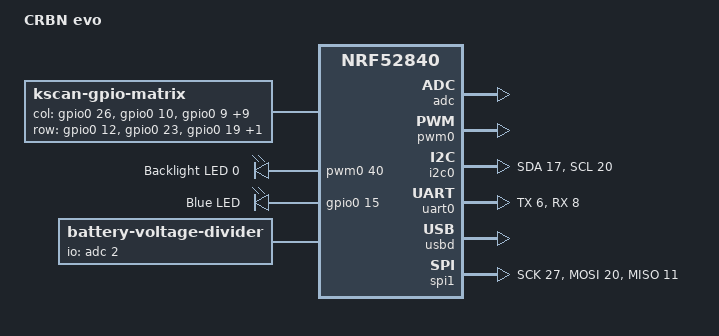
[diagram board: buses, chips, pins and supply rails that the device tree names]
/*
* Copyright (c) 2021 Polarity Works
*
* SPDX-License-Identifier: MIT
*/

/dts-v1/;
#include <nordic/nrf52840_qiaa.dtsi>
#include <dt-bindings/zmk/matrix_transform.h>

/ {
	model = "CRBN evo";
	compatible = "polarityworks,crbnevo";

	chosen {
		zephyr,code-partition = &code_partition;
		zephyr,sram = &sram0;
		zephyr,flash = &flash0;
		zmk,kscan = &kscan0;
		zmk,backlight = &backlight;
		zephyr,console = &cdc_acm_uart;
	};

	kscan0: kscan_0 {
		compatible = "zmk,kscan-gpio-matrix";
		label = "KSCAN";
		diode-direction = "col2row";

		col-gpios
			= <&gpio0 26 GPIO_ACTIVE_HIGH>
			, <&gpio0 10 GPIO_ACTIVE_HIGH>
			, <&gpio0 9 GPIO_ACTIVE_HIGH>
			, <&gpio0 28 GPIO_ACTIVE_HIGH>
			, <&gpio0 29 GPIO_ACTIVE_HIGH>
			, <&gpio0 30 GPIO_ACTIVE_HIGH>
			, <&gpio0 31 GPIO_ACTIVE_HIGH>
			, <&gpio0 2 GPIO_ACTIVE_HIGH>
			, <&gpio0 3 GPIO_ACTIVE_HIGH>
			, <&gpio0 5 GPIO_ACTIVE_HIGH>
			, <&gpio0 6 GPIO_ACTIVE_HIGH>
			, <&gpio0 8 GPIO_ACTIVE_HIGH>
			;

		row-gpios
			= <&gpio0 12 (GPIO_ACTIVE_HIGH | GPIO_PULL_DOWN)>
			, <&gpio0 23 (GPIO_ACTIVE_HIGH | GPIO_PULL_DOWN)>
			, <&gpio0 19 (GPIO_ACTIVE_HIGH | GPIO_PULL_DOWN)>
			, <&gpio0 11 (GPIO_ACTIVE_HIGH | GPIO_PULL_DOWN)>
			;
	};

	backlight: pwmleds {
		compatible = "pwm-leds";
		label = "Backlight LEDs";
		pwm_led_0 {
			pwms = <&pwm0 40>;
			label = "Backlight LED 0";
		};
	};

	leds {
		compatible = "gpio-leds";
		blue_led: led_0 {
			gpios = <&gpio0 15 GPIO_ACTIVE_HIGH>;
			label = "Blue LED";
		};
	};

	vbatt {
		compatible = "zmk,battery-voltage-divider";
		label = "BATTERY";
		io-channels = <&adc 2>;
		output-ohms = <100000>;
		full-ohms = <(100000 + 100000)>;
	};
};

&adc {
	status = "okay";
};

&pwm0 {
	status = "okay";
	ch0-pin = <40>;
};

&gpiote {
	status = "okay";
};

&gpio0 {
	status = "okay";
};

&gpio1 {
	status = "okay";
};

&i2c0 {
	compatible = "nordic,nrf-twi";
	sda-pin = <17>;
	scl-pin = <20>;
};

&uart0 {
	compatible = "nordic,nrf-uarte";
	tx-pin = <6>;
	rx-pin = <8>;
};

&usbd {
	status = "okay";
	cdc_acm_uart: cdc_acm_uart {
    compatible = "zephyr,cdc-acm-uart";
    label = "CDC_ACM_0";
  };
};


&flash0 {
	/*
	 * For more information, see:
	 * http://docs.zephyrproject.org/latest/devices/dts/flash_partitions.html
	 */
	partitions {
		compatible = "fixed-partitions";
		#address-cells = <1>;
		#size-cells = <1>;

		sd_partition: partition@0 {
			label = "softdevice";
			reg = <0x00000000 0x00026000>;
		};
		code_partition: partition@26000 {
			label = "code_partition";
			reg = <0x00026000 0x000c6000>;
		};

		/*
		 * The flash starting at 0x000ec000 and ending at
		 * 0x000f3fff is reserved for use by the application.
		 */

		/*
		 * Storage partition will be used by FCB/LittleFS/NVS
		 * if enabled.
		 */
		storage_partition: partition@ec000 {
			label = "storage";
			reg = <0x000ec000 0x00008000>;
		};

		boot_partition: partition@f4000 {
			label = "adafruit_boot";
			reg = <0x000f4000 0x0000c000>;
		};
	};
};

&spi1 {
	compatible = "nordic,nrf-spim";
	status = "okay";
	mosi-pin = <20>;
	// Unused pins, needed for SPI definition, but not used by the ws2812 driver itself.
	sck-pin = <27>;
	miso-pin = <11>;

};
